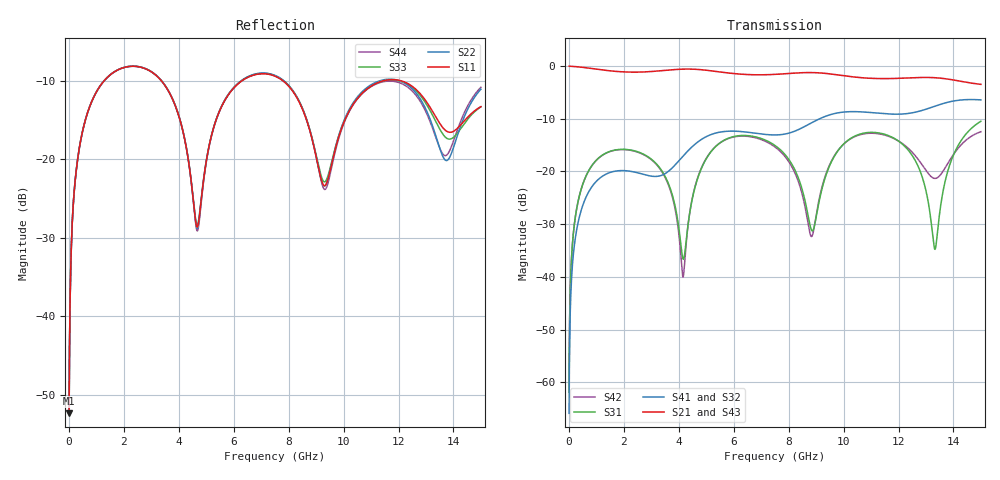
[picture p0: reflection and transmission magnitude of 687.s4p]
! Created with skrf 1.8.0 (http://scikit-rf.org).
# GHz S RI R 50.0
!freq ReS11 ImS11 ReS12 ImS12 ReS13 ImS13
! ReS14 ImS14
! ReS21 ImS21 ReS22 ImS22 ReS23 ImS23
! ReS24 ImS24
! ReS31 ImS31 ReS32 ImS32 ReS33 ImS33
! ReS34 ImS34
! ReS41 ImS41 ReS42 ImS42 ReS43 ImS43
! ReS44 ImS44
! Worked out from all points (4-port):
!   2499 points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, 5 MHz to 15 GHz, reference 50 ohm
!   strongest paths, dB at 5 MHz, 3.476 GHz, 7.19 GHz, 11.1 GHz, 15 GHz:
!     S21: 0.0, -0.8, -1.6, -2.3, -3.5
!     S43: 0.0, -0.8, -1.6, -2.3, -3.5
!     S41: -65.9, -20.5, -13.0, -8.9, -6.4
!     S32: -65.9, -20.5, -13.0, -8.9, -6.4
!     S31: -61.8, -20.7, -14.1, -12.6, -10.5
!     S42: -61.8, -20.9, -14.4, -12.8, -12.5
!   lowest |S11| = -52.4 dB at 5 MHz (marker M1), VSWR 1.00, Z = 50.2 + j0.146 ohm
!   |S11| at or under -10 dB: 3.359 GHz to 6.307 GHz (2.948 GHz wide, 61 % of centre); 7.783 GHz to 11.47 GHz (3.691 GHz wide, 38.3 % of centre); 12.06 GHz to end of sweep (the widest 3 of 4)
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0.005  0.00192 0.00145  0.998 -0.00373  9.88e-05 0.000803  -9.56e-05 -0.000497
       0.998 -0.00373  0.00192 0.00145  -9.56e-05 -0.000497  9.88e-05 0.000803
       9.88e-05 0.000803  -9.56e-05 -0.000497  0.00192 0.00145  0.998 -0.00373
       -9.56e-05 -0.000497  9.88e-05 0.000803  0.998 -0.00373  0.00192 0.00145
0.3126303  0.0314 0.0939  0.9569 -0.2305  0.0155 0.0467  -0.0127 -0.0283
           0.9569 -0.2305  0.0314 0.0939  -0.0127 -0.0283  0.0153 0.0467
           0.0155 0.0467  -0.0127 -0.0283  0.0314 0.0939  0.9569 -0.2305
           -0.0127 -0.0283  0.0153 0.0467  0.9569 -0.2305  0.0314 0.0939
1.3193  0.2679 0.1767  0.5521 -0.7262  0.1336 0.0643  -0.0932 -0.00671
        0.5521 -0.7262  0.2684 0.1764  -0.0932 -0.00675  0.1321 0.0662
        0.1336 0.0643  -0.0932 -0.00675  0.2679 0.1767  0.5521 -0.7262
        -0.0932 -0.00671  0.1321 0.0662  0.5521 -0.7262  0.2684 0.1764
4.545909  0.0374 -0.0344  -0.9227 -0.1451  -0.00878 0.0632  -0.0249 0.1756
          -0.9227 -0.1451  0.0364 -0.0352  -0.0253 0.1755  -0.00597 0.0644
          -0.00878 0.0632  -0.0253 0.1755  0.0385 -0.0345  -0.9226 -0.1452
          -0.0249 0.1756  -0.00597 0.0644  -0.9226 -0.1452  0.0353 -0.0357
9.391413  0.0698 0.0129  0.8414 0.1176  0.00692 0.0972  0.0343 -0.3357
          0.8414 0.1176  0.0699 0.0122  0.0362 -0.335  0.00693 0.0997
          0.00692 0.0972  0.0362 -0.335  0.0739 0.0115  0.8414 0.1181
          0.0343 -0.3357  0.00693 0.0997  0.8414 0.1181  0.066 0.00998
13.33055  0.1698 -0.0835  -0.5659 -0.5301  -0.0182 -0.00173  -0.2741 0.3139
          -0.5659 -0.5301  0.1225 -0.0791  -0.2807 0.3089  -0.0798 -0.0318
          -0.0182 -0.00173  -0.2807 0.3089  0.1545 -0.0871  -0.569 -0.5289
          -0.2741 0.3139  -0.0798 -0.0318  -0.569 -0.5289  0.1268 -0.0641
15  0.2152 0.0138  -0.6343 0.2184  0.2659 0.1372  0.2363 0.4155
    -0.6343 0.2184  0.2591 0.103  0.2325 0.4194  0.133 0.1976
    0.2659 0.1372  0.2325 0.4194  0.2139 0.0218  -0.6322 0.2202
    0.2363 0.4155  0.133 0.1976  -0.6322 0.2202  0.2664 0.1058
